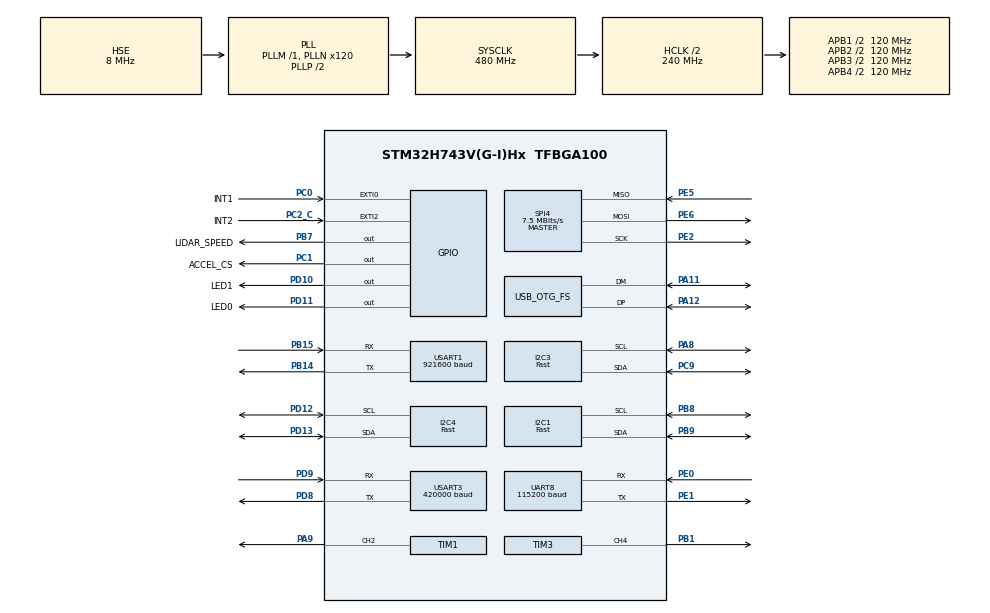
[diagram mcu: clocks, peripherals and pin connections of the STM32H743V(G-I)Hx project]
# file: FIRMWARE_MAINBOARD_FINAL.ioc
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CORTEX_M7.default_mode_Activation=1
Dma.Request0=USART1_RX
Dma.Request1=TIM1_CH2
Dma.Request2=UART8_RX
Dma.Request3=TIM3_CH4
Dma.Request4=USART3_RX
Dma.TIM1_CH2.1.Direction=DMA_MEMORY_TO_PERIPH
Dma.TIM1_CH2.1.EventEnable=DISABLE
Dma.TIM1_CH2.1.FIFOMode=DMA_FIFOMODE_DISABLE
Dma.TIM1_CH2.1.Instance=DMA1_Stream0
Dma.TIM1_CH2.1.MemDataAlignment=DMA_MDATAALIGN_WORD
Dma.TIM1_CH2.1.MemInc=DMA_MINC_ENABLE
Dma.TIM1_CH2.1.Mode=DMA_NORMAL
Dma.TIM1_CH2.1.PeriphDataAlignment=DMA_PDATAALIGN_WORD
Dma.TIM1_CH2.1.PeriphInc=DMA_PINC_DISABLE
Dma.TIM1_CH2.1.Polarity=HAL_DMAMUX_REQ_GEN_RISING
Dma.TIM1_CH2.1.Priority=DMA_PRIORITY_LOW
Dma.TIM1_CH2.1.RequestNumber=1
Dma.TIM1_CH2.1.SignalID=NONE
Dma.TIM1_CH2.1.SyncEnable=DISABLE
Dma.TIM1_CH2.1.SyncPolarity=HAL_DMAMUX_SYNC_NO_EVENT
Dma.TIM1_CH2.1.SyncRequestNumber=1
Dma.TIM1_CH2.1.SyncSignalID=NONE
Dma.TIM3_CH4.3.Direction=DMA_MEMORY_TO_PERIPH
Dma.TIM3_CH4.3.EventEnable=DISABLE
Dma.TIM3_CH4.3.FIFOMode=DMA_FIFOMODE_DISABLE
Dma.TIM3_CH4.3.Instance=DMA1_Stream3
Dma.TIM3_CH4.3.MemDataAlignment=DMA_MDATAALIGN_WORD
Dma.TIM3_CH4.3.MemInc=DMA_MINC_ENABLE
Dma.TIM3_CH4.3.Mode=DMA_NORMAL
Dma.TIM3_CH4.3.PeriphDataAlignment=DMA_PDATAALIGN_WORD
Dma.TIM3_CH4.3.PeriphInc=DMA_PINC_DISABLE
Dma.TIM3_CH4.3.Polarity=HAL_DMAMUX_REQ_GEN_RISING
Dma.TIM3_CH4.3.Priority=DMA_PRIORITY_LOW
Dma.TIM3_CH4.3.RequestNumber=1
Dma.TIM3_CH4.3.SignalID=NONE
Dma.TIM3_CH4.3.SyncEnable=DISABLE
Dma.TIM3_CH4.3.SyncPolarity=HAL_DMAMUX_SYNC_NO_EVENT
Dma.TIM3_CH4.3.SyncRequestNumber=1
Dma.TIM3_CH4.3.SyncSignalID=NONE
Dma.UART8_RX.2.Direction=DMA_PERIPH_TO_MEMORY
Dma.UART8_RX.2.EventEnable=DISABLE
Dma.UART8_RX.2.FIFOMode=DMA_FIFOMODE_DISABLE
Dma.UART8_RX.2.Instance=DMA1_Stream2
Dma.UART8_RX.2.MemDataAlignment=DMA_MDATAALIGN_BYTE
Dma.UART8_RX.2.MemInc=DMA_MINC_ENABLE
Dma.UART8_RX.2.Mode=DMA_CIRCULAR
Dma.UART8_RX.2.PeriphDataAlignment=DMA_PDATAALIGN_BYTE
Dma.UART8_RX.2.PeriphInc=DMA_PINC_DISABLE
Dma.UART8_RX.2.Polarity=HAL_DMAMUX_REQ_GEN_RISING
Dma.UART8_RX.2.Priority=DMA_PRIORITY_LOW
Dma.UART8_RX.2.RequestNumber=1
Dma.UART8_RX.2.SignalID=NONE
Dma.UART8_RX.2.SyncEnable=DISABLE
Dma.UART8_RX.2.SyncPolarity=HAL_DMAMUX_SYNC_NO_EVENT
Dma.UART8_RX.2.SyncRequestNumber=1
Dma.UART8_RX.2.SyncSignalID=NONE
Dma.USART1_RX.0.Direction=DMA_PERIPH_TO_MEMORY
Dma.USART1_RX.0.EventEnable=DISABLE
Dma.USART1_RX.0.FIFOMode=DMA_FIFOMODE_DISABLE
Dma.USART1_RX.0.Instance=DMA1_Stream1
Dma.USART1_RX.0.MemDataAlignment=DMA_MDATAALIGN_BYTE
Dma.USART1_RX.0.MemInc=DMA_MINC_ENABLE
Dma.USART1_RX.0.Mode=DMA_CIRCULAR
Dma.USART1_RX.0.PeriphDataAlignment=DMA_PDATAALIGN_BYTE
Dma.USART1_RX.0.PeriphInc=DMA_PINC_DISABLE
Dma.USART1_RX.0.Polarity=HAL_DMAMUX_REQ_GEN_RISING
Dma.USART1_RX.0.Priority=DMA_PRIORITY_LOW
Dma.USART1_RX.0.RequestNumber=1
Dma.USART1_RX.0.SignalID=NONE
Dma.USART1_RX.0.SyncEnable=DISABLE
Dma.USART1_RX.0.SyncPolarity=HAL_DMAMUX_SYNC_NO_EVENT
Dma.USART1_RX.0.SyncRequestNumber=1
Dma.USART1_RX.0.SyncSignalID=NONE
Dma.USART3_RX.4.Direction=DMA_PERIPH_TO_MEMORY
Dma.USART3_RX.4.EventEnable=DISABLE
Dma.USART3_RX.4.FIFOMode=DMA_FIFOMODE_DISABLE
Dma.USART3_RX.4.Instance=DMA1_Stream4
Dma.USART3_RX.4.MemDataAlignment=DMA_MDATAALIGN_BYTE
Dma.USART3_RX.4.MemInc=DMA_MINC_ENABLE
Dma.USART3_RX.4.Mode=DMA_CIRCULAR
Dma.USART3_RX.4.PeriphDataAlignment=DMA_PDATAALIGN_BYTE
Dma.USART3_RX.4.PeriphInc=DMA_PINC_DISABLE
Dma.USART3_RX.4.Polarity=HAL_DMAMUX_REQ_GEN_RISING
Dma.USART3_RX.4.Priority=DMA_PRIORITY_LOW
Dma.USART3_RX.4.RequestNumber=1
Dma.USART3_RX.4.SignalID=NONE
Dma.USART3_RX.4.SyncEnable=DISABLE
Dma.USART3_RX.4.SyncPolarity=HAL_DMAMUX_SYNC_NO_EVENT
Dma.USART3_RX.4.SyncRequestNumber=1
Dma.USART3_RX.4.SyncSignalID=NONE
FREERTOS.INCLUDE_uxTaskGetStackHighWaterMark2=1
FREERTOS.INCLUDE_vTaskDelayUntil=1
FREERTOS.Tasks01=maintask,0,256,Startmaintask,Default,NULL,Dynamic,NULL,NULL;Sensor_parse,0,512,Startsensorparse,Default,NULL,Dynamic,NULL,NULL;Pimptask,0,512,StartPimptask,Default,NULL,Dynamic,NULL,NULL;Odom_task,0,512,StartOdomtask,Default,NULL,Dynamic,NULL,NULL;Clustertask,0,512,StartClustertask,Default,NULL,Dynamic,NULL,NULL
FREERTOS.configTOTAL_HEAP_SIZE=32768
FREERTOS.configUSE_NEWLIB_REENTRANT=1
I2C1.I2C_Speed_Mode=I2C_Fast
I2C1.Timing=0x00B03FDB
I2C3.I2C_Speed_Mode=I2C_Fast
I2C3.Timing=0x00B03FDB
I2C4.I2C_Speed_Mode=I2C_Fast
I2C4.Timing=0x00B03FDB
Mcu.Family=STM32H7
Mcu.Name=STM32H743V(G-I)Hx
Mcu.Package=TFBGA100
NVIC.DMA1_Stream0_IRQn=true\:5\:0\:false\:false\:true\:true\:false\:true\:true
NVIC.DMA1_Stream1_IRQn=true\:5\:0\:false\:false\:true\:true\:false\:true\:true
NVIC.DMA1_Stream2_IRQn=true\:5\:0\:false\:false\:true\:true\:false\:true\:true
NVIC.DMA1_Stream3_IRQn=true\:5\:0\:false\:false\:true\:true\:false\:true\:true
NVIC.DMA1_Stream4_IRQn=true\:5\:0\:false\:false\:true\:true\:false\:true\:true
NVIC.EXTI0_IRQn=true\:5\:0\:false\:false\:true\:true\:true\:true\:true
NVIC.EXTI2_IRQn=true\:5\:0\:false\:false\:true\:true\:true\:true\:true
NVIC.OTG_FS_IRQn=true\:5\:0\:false\:false\:true\:true\:false\:true\:true
NVIC.PriorityGroup=NVIC_PRIORITYGROUP_4
NVIC.TIM2_IRQn=true\:15\:0\:false\:false\:true\:false\:false\:true\:true
NVIC.TimeBase=TIM2_IRQn
NVIC.TimeBaseIP=TIM2
PA11.Mode=Device_Only
PA11.Signal=USB_OTG_FS_DM
PA12.Mode=Device_Only
PA12.Signal=USB_OTG_FS_DP
PA13\ (JTMS/SWDIO).Mode=Serial_Wire
PA13\ (JTMS/SWDIO).Signal=DEBUG_JTMS-SWDIO
PA14\ (JTCK/SWCLK).Mode=Serial_Wire
PA14\ (JTCK/SWCLK).Signal=DEBUG_JTCK-SWCLK
PA8.Mode=I2C
PA8.Signal=I2C3_SCL
PA9.Signal=S_TIM1_CH2
PB1.Signal=S_TIM3_CH4
PB14.Mode=Asynchronous
PB14.Signal=USART1_TX
PB15.Mode=Asynchronous
PB15.Signal=USART1_RX
PB7.GPIO_Label=LIDAR_SPEED
PB7.Signal=GPIO_Output
PB8.Mode=I2C
PB8.Signal=I2C1_SCL
PB9.Mode=I2C
PB9.Signal=I2C1_SDA
PC0.GPIO_Label=INT1
PC0.GPIO_ModeDefaultEXTI=GPIO_MODE_IT_RISING
PC0.Signal=GPXTI0
PC1.GPIO_Label=ACCEL_CS
PC1.Signal=GPIO_Output
PC2_C.GPIO_Label=INT2
PC2_C.Signal=GPXTI2
PC9.Mode=I2C
PC9.Signal=I2C3_SDA
PD10.GPIO_Label=LED1
PD10.Signal=GPIO_Output
PD11.GPIO_Label=LED0
PD11.Signal=GPIO_Output
PD12.Mode=I2C
PD12.Signal=I2C4_SCL
PD13.Mode=I2C
PD13.Signal=I2C4_SDA
PD8.Mode=Asynchronous
PD8.Signal=USART3_TX
PD9.Mode=Asynchronous
PD9.Signal=USART3_RX
PE0.Mode=Asynchronous
PE0.Signal=UART8_RX
PE1.Mode=Asynchronous
PE1.Signal=UART8_TX
PE2.Mode=Full_Duplex_Master
PE2.Signal=SPI4_SCK
PE5.Mode=Full_Duplex_Master
PE5.Signal=SPI4_MISO
PE6.Mode=Full_Duplex_Master
PE6.Signal=SPI4_MOSI
PE7.Signal=UART7_RX
PE8.Signal=UART7_TX
PH0-OSC_IN\ (PH0).Mode=HSE-External-Oscillator
PH0-OSC_IN\ (PH0).Signal=RCC_OSC_IN
PH1-OSC_OUT\ (PH1).Mode=HSE-External-Oscillator
PH1-OSC_OUT\ (PH1).Signal=RCC_OSC_OUT
ProjectManager.HeapSize=0x200
ProjectManager.StackSize=0x400
ProjectManager.TargetToolchain=STM32CubeIDE
RCC.ADCFreq_Value=75000000
RCC.APB1Freq_Value=120000000
RCC.APB2Freq_Value=120000000
RCC.APB3Freq_Value=120000000
RCC.APB4Freq_Value=120000000
RCC.CortexFreq_Value=480000000
RCC.D1PPRE=RCC_APB3_DIV2
RCC.D2PPRE1=RCC_APB1_DIV2
RCC.D2PPRE2=RCC_APB2_DIV2
RCC.D3PPRE=RCC_APB4_DIV2
RCC.DIVM1=1
RCC.DIVM2=8
RCC.DIVM3=2
RCC.DIVN1=120
RCC.DIVN2=150
RCC.DIVN3=130
RCC.DIVP3=10
RCC.HCLKFreq_Value=240000000
RCC.HPRE=RCC_HCLK_DIV2
RCC.HSE_VALUE=8000000
RCC.PLL2FRACN=0
RCC.PLL3FRACN=0
RCC.PLLFRACN=0
RCC.PLLSourceVirtual=RCC_PLLSOURCE_HSE
RCC.SAI23CLockSelection=RCC_SAI23CLKSOURCE_PLL2
RCC.SPI123CLockSelection=RCC_SPI123CLKSOURCE_PLL3
RCC.SYSCLKFreq_VALUE=480000000
RCC.SYSCLKSource=RCC_SYSCLKSOURCE_PLLCLK
RCC.USBCLockSelection=RCC_USBCLKSOURCE_HSI48
RCC.USBFreq_Value=48000000
SH.S_TIM1_CH2.0=TIM1_CH2,PWM Generation2 CH2
SH.S_TIM3_CH4.0=TIM3_CH4,PWM Generation4 CH4
SPI4.BaudRatePrescaler=SPI_BAUDRATEPRESCALER_16
SPI4.CLKPhase=SPI_PHASE_2EDGE
SPI4.CLKPolarity=SPI_POLARITY_HIGH
SPI4.CalculateBaudRate=7.5 MBits/s
SPI4.DataSize=SPI_DATASIZE_8BIT
SPI4.Direction=SPI_DIRECTION_2LINES
SPI4.Mode=SPI_MODE_MASTER
SPI4.VirtualType=VM_MASTER
TIM1.AutoReloadPreload=TIM_AUTORELOAD_PRELOAD_ENABLE
TIM1.Channel-PWM\ Generation2\ CH2=TIM_CHANNEL_2
TIM1.Period=100-1
TIM1.Prescaler=3-1
TIM3.AutoReloadPreload=TIM_AUTORELOAD_PRELOAD_ENABLE
TIM3.Channel-PWM\ Generation4\ CH4=TIM_CHANNEL_4
TIM3.Period=100-1
TIM3.Prescaler=3-1
UART8.BaudRate=115200
USART1.BaudRate=921600
USART1.VirtualMode-Asynchronous=VM_ASYNC
USART3.BaudRate=420000
USART3.VirtualMode-Asynchronous=VM_ASYNC
USB_DEVICE.CLASS_NAME_FS=CDC
USB_DEVICE.VirtualMode-CDC_FS=Cdc
USB_DEVICE.VirtualModeFS=Cdc_FS
USB_OTG_FS.VirtualMode=Device_Only
VP_FREERTOS_VS_CMSIS_V1.Mode=CMSIS_V1
VP_MEMORYMAP_VS_MEMORYMAP.Mode=CurAppReg
VP_SYS_VS_tim2.Mode=TIM2
VP_TIM1_VS_ClockSourceINT.Mode=Internal
VP_TIM3_VS_ClockSourceINT.Mode=Internal
VP_USB_DEVICE_VS_USB_DEVICE_CDC_FS.Mode=CDC_FS
board=custom

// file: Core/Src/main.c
/* USER CODE BEGIN Header */
/**
  ******************************************************************************
  * @file           : main.c
  * @brief          : Main program body
  ******************************************************************************
  * @attention
  *
  * Copyright (c) 2025 STMicroelectronics.
  * All rights reserved.
  *
  * This software is licensed under terms that can be found in the LICENSE file
  * in the root directory of this software component.
  * If no LICENSE file comes with this software, it is provided AS-IS.
  *
  ******************************************************************************
  */
/* USER CODE END Header */
#include "main.h"
#include "cmsis_os.h"
#include "dma.h"
#include "i2c.h"
#include "spi.h"
#include "tim.h"
#include "usart.h"
#include "usb_device.h"
#include "gpio.h"

/* USER CODE BEGIN Includes */
#include "adxl343.h"
#include "ssd1306.h"
#include "led.h"
#include "mcc_com_master.h"
#include "odometry.h"
#include "vl53l0x.h"
#include "lidar.h"
#include "crsf.h"
/* USER CODE END Includes */

/* USER CODE BEGIN PV */
adxl343_t adxldata;
MOTOR_COM com_struct;
Lidar_t lidar_struct;
ODOM_struct odom_struct;

led_strip_t tomandjerry;
led_strip_t extled;
VL53L0X_t tof_array[3];

CRSF_t crsf_struct;

extern uint8_t  tomjerry_grb[WS2812_GRB_BUF_LEN(TOM_JERRY_LED_COUNT)];
extern uint32_t tomjerry_dma[WS2812_DMA_BUF_LEN(TOM_JERRY_LED_COUNT)];

/* USER CODE END PV */

void SystemClock_Config(void);
static void MPU_Config(void);
void MX_FREERTOS_Init(void);

/* USER CODE BEGIN 0 */
void HAL_GPIO_EXTI_Callback(uint16_t GPIO_Pin){

	if(GPIO_Pin == GPIO_PIN_0){
		ADXL343_INT_HANDLER(&adxldata, 100);
		#define ADXL343_DEBOUNCE_MS  120u
		static uint32_t last_irq_ms = 0;
		uint32_t now = HAL_GetTick();
		if ((uint32_t)(now - last_irq_ms) < ADXL343_DEBOUNCE_MS) {
			return;
		}
		last_irq_ms = now;
		adxldata.filtered_tap_event=1;
 }
}

void HAL_TIM_PWM_PulseFinishedCallback(TIM_HandleTypeDef *htim){
	if(htim->Instance==TIM1){
	LED_Strip_DMA_Callback(&tomandjerry);
	}
	else if(htim->Instance==TIM3){
	LED_Strip_DMA_Callback(&extled);
	}
	else{

	}
}

void HAL_UART_RxHalfCpltCallback(UART_HandleTypeDef *huart)
{
    if (huart->Instance == USART1)
    {
#ifdef NORMAL_MODE
        com_struct.write_index = (uint16_t)(MOTOR_COM_RX_BUF_SIZE / 2u);
#endif
#ifdef DEBUG_MODE
        (void)CDC_Transmit_FS(&com_struct.dbg_rx_buf[0], DEBUG_RX_BUF_SIZE / 2u);
#endif
    }
    if (huart->Instance == UART8)
    {
    	lidar_struct.parse_struct.ylidar_write_index=YLIDAR_CIRC_BUF_SIZE/2u;
    }
    if (huart->Instance == USART3)
    {
    	crsf_struct.crsf_write_index=CRSF_CIRC_BUF_LENGHT/2u;
    }
}

void HAL_UART_RxCpltCallback(UART_HandleTypeDef *huart)
{
    if (huart->Instance == USART1)
    {
#ifdef NORMAL_MODE
        com_struct.write_index = 0;
#endif
#ifdef DEBUG_MODE
        (void)CDC_Transmit_FS(&com_struct.dbg_rx_buf[DEBUG_RX_BUF_SIZE / 2u],
                              DEBUG_RX_BUF_SIZE / 2u);
#endif
    }
    if (huart->Instance == UART8)
    {
    	lidar_struct.parse_struct.ylidar_write_index=0;
    }
    if (huart->Instance == USART3)
    {
    	crsf_struct.crsf_write_index=0u;
    }
}

/* USER CODE END 0 */

int main(void)
{

  /* MPU Configuration--------------------------------------------------------*/
  MPU_Config();

  /* MCU Configuration--------------------------------------------------------*/

  /* Reset of all peripherals, Initializes the Flash interface and the Systick. */
  HAL_Init();

  /* Configure the system clock */
  SystemClock_Config();

  /* Initialize all configured peripherals */
  MX_GPIO_Init();
  MX_DMA_Init();
  MX_SPI4_Init();
  MX_TIM1_Init();
  MX_USART1_UART_Init();
  MX_I2C1_Init();
  MX_I2C3_Init();
  MX_I2C4_Init();
  MX_UART8_Init();
  MX_USART3_UART_Init();
  MX_TIM3_Init();
  /* USER CODE BEGIN 2 */

  CoreDebug->DEMCR |= CoreDebug_DEMCR_TRCENA_Msk;
  DWT->CYCCNT = 0;
  DWT->CTRL |= DWT_CTRL_CYCCNTENA_Msk;

  crsf_Init(&crsf_struct,&huart3);

  MotorCom_Init(&com_struct,&huart1);

  ADXL343_Init(&adxldata, &hspi4, ACCEL_CS_GPIO_Port, ACCEL_CS_Pin,ADXL343_BW_RATE_VALUE, ADXL343_DATA_FMT_RANGE_4G,100);

  Lidar_Init(&lidar_struct,&huart8,LIDAR_SPEED_GPIO_Port, LIDAR_SPEED_Pin);

  /* USER CODE END 2 */

  /* Call init function for freertos objects (in cmsis_os2.c) */
  MX_FREERTOS_Init();

  /* Start scheduler */
  osKernelStart();

  /* We should never get here as control is now taken by the scheduler */

  /* Infinite loop */
  while (1)
  {

  }
}

void SystemClock_Config(void)
{
  RCC_OscInitTypeDef RCC_OscInitStruct = {0};
  RCC_ClkInitTypeDef RCC_ClkInitStruct = {0};

  /** Supply configuration update enable
  */
  HAL_PWREx_ConfigSupply(PWR_LDO_SUPPLY);

  /** Configure the main internal regulator output voltage
  */
  __HAL_PWR_VOLTAGESCALING_CONFIG(PWR_REGULATOR_VOLTAGE_SCALE0);

  while(!__HAL_PWR_GET_FLAG(PWR_FLAG_VOSRDY)) {}

  /** Initializes the RCC Oscillators according to the specified parameters
  * in the RCC_OscInitTypeDef structure.
  */
  RCC_OscInitStruct.OscillatorType = RCC_OSCILLATORTYPE_HSI48|RCC_OSCILLATORTYPE_HSE;
  RCC_OscInitStruct.HSEState = RCC_HSE_ON;
  RCC_OscInitStruct.HSI48State = RCC_HSI48_ON;
  RCC_OscInitStruct.PLL.PLLState = RCC_PLL_ON;
  RCC_OscInitStruct.PLL.PLLSource = RCC_PLLSOURCE_HSE;
  RCC_OscInitStruct.PLL.PLLM = 1;
  RCC_OscInitStruct.PLL.PLLN = 120;
  RCC_OscInitStruct.PLL.PLLP = 2;
  RCC_OscInitStruct.PLL.PLLQ = 2;
  RCC_OscInitStruct.PLL.PLLR = 2;
  RCC_OscInitStruct.PLL.PLLRGE = RCC_PLL1VCIRANGE_3;
  RCC_OscInitStruct.PLL.PLLVCOSEL = RCC_PLL1VCOWIDE;
  RCC_OscInitStruct.PLL.PLLFRACN = 0;
  if (HAL_RCC_OscConfig(&RCC_OscInitStruct) != HAL_OK)
  {
    Error_Handler();
  }

  /** Initializes the CPU, AHB and APB buses clocks
  */
  RCC_ClkInitStruct.ClockType = RCC_CLOCKTYPE_HCLK|RCC_CLOCKTYPE_SYSCLK
                              |RCC_CLOCKTYPE_PCLK1|RCC_CLOCKTYPE_PCLK2
                              |RCC_CLOCKTYPE_D3PCLK1|RCC_CLOCKTYPE_D1PCLK1;
  RCC_ClkInitStruct.SYSCLKSource = RCC_SYSCLKSOURCE_PLLCLK;
  RCC_ClkInitStruct.SYSCLKDivider = RCC_SYSCLK_DIV1;
  RCC_ClkInitStruct.AHBCLKDivider = RCC_HCLK_DIV2;
  RCC_ClkInitStruct.APB3CLKDivider = RCC_APB3_DIV2;
  RCC_ClkInitStruct.APB1CLKDivider = RCC_APB1_DIV2;
  RCC_ClkInitStruct.APB2CLKDivider = RCC_APB2_DIV2;
  RCC_ClkInitStruct.APB4CLKDivider = RCC_APB4_DIV2;

  if (HAL_RCC_ClockConfig(&RCC_ClkInitStruct, FLASH_LATENCY_4) != HAL_OK)
  {
    Error_Handler();
  }
}

 /* MPU Configuration */

void MPU_Config(void)
{
  MPU_Region_InitTypeDef MPU_InitStruct = {0};

  /* Disables the MPU */
  HAL_MPU_Disable();

  /** Initializes and configures the Region and the memory to be protected
  */
  MPU_InitStruct.Enable = MPU_REGION_ENABLE;
  MPU_InitStruct.Number = MPU_REGION_NUMBER0;
  MPU_InitStruct.BaseAddress = 0x0;
  MPU_InitStruct.Size = MPU_REGION_SIZE_4GB;
  MPU_InitStruct.SubRegionDisable = 0x87;
  MPU_InitStruct.TypeExtField = MPU_TEX_LEVEL0;
  MPU_InitStruct.AccessPermission = MPU_REGION_NO_ACCESS;
  MPU_InitStruct.DisableExec = MPU_INSTRUCTION_ACCESS_DISABLE;
  MPU_InitStruct.IsShareable = MPU_ACCESS_SHAREABLE;
  MPU_InitStruct.IsCacheable = MPU_ACCESS_NOT_CACHEABLE;
  MPU_InitStruct.IsBufferable = MPU_ACCESS_NOT_BUFFERABLE;

  HAL_MPU_ConfigRegion(&MPU_InitStruct);
  /* Enables the MPU */
  HAL_MPU_Enable(MPU_PRIVILEGED_DEFAULT);

}

void HAL_TIM_PeriodElapsedCallback(TIM_HandleTypeDef *htim)
{
  if (htim->Instance == TIM2)
  {
    HAL_IncTick();
  }
}

void Error_Handler(void)
{
  __disable_irq();
  while (1)
  {
  }
}

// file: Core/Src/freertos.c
/* USER CODE BEGIN Header */
/**
  ******************************************************************************
  * File Name          : freertos.c
  * Description        : Code for freertos applications
  ******************************************************************************
  * @attention
  *
  * Copyright (c) 2025 STMicroelectronics.
  * All rights reserved.
  *
  * This software is licensed under terms that can be found in the LICENSE file
  * in the root directory of this software component.
  * If no LICENSE file comes with this software, it is provided AS-IS.
  *
  ******************************************************************************
  */
/* USER CODE END Header */

#include "FreeRTOS.h"
#include "task.h"
#include "main.h"
#include "cmsis_os.h"

/* USER CODE BEGIN Includes */
#include "adxl343.h"
#include "mcc_com_master.h"
#include "odometry.h"
#include "vl53l0x.h"
#include "lidar.h"
#include "led.h"
#include "ssd1306.h"
#include "crsf.h"
#include "pimp.h"
#include "usart.h"
/* USER CODE END Includes */

/* USER CODE BEGIN Variables */

extern adxl343_t adxldata;
extern MOTOR_COM com_struct;
extern Lidar_t lidar_struct;
extern ODOM_struct odom_struct;
extern CRSF_t crsf_struct;

extern led_strip_t tomandjerry;
extern led_strip_t extled;

extern uint8_t  tomjerry_grb[WS2812_GRB_BUF_LEN(TOM_JERRY_LED_COUNT)];
extern uint32_t tomjerry_dma[WS2812_DMA_BUF_LEN(TOM_JERRY_LED_COUNT)];

extern uint8_t  ext_grb[WS2812_GRB_BUF_LEN(EXT_LED_COUNT)];
extern uint32_t ext_dma[WS2812_DMA_BUF_LEN(EXT_LED_COUNT)];

extern VL53L0X_t tof_array[3];

uint32_t time_sum=0;
uint32_t t0=0;
float time_avg;
uint32_t max_time;
/* USER CODE END Variables */
osThreadId maintaskHandle;
osThreadId Sensor_parseHandle;
osThreadId PimptaskHandle;
osThreadId Odom_taskHandle;
osThreadId ClustertaskHandle;

void Startmaintask(void const * argument);
void Startsensorparse(void const * argument);
void StartPimptask(void const * argument);
void StartOdomtask(void const * argument);
void StartClustertask(void const * argument);

extern void MX_USB_DEVICE_Init(void);
void MX_FREERTOS_Init(void); /* (MISRA C 2004 rule 8.1) */

/* GetIdleTaskMemory prototype (linked to static allocation support) */
void vApplicationGetIdleTaskMemory( StaticTask_t **ppxIdleTaskTCBBuffer, StackType_t **ppxIdleTaskStackBuffer, uint32_t *pulIdleTaskStackSize );

/* USER CODE BEGIN GET_IDLE_TASK_MEMORY */
static StaticTask_t xIdleTaskTCBBuffer;
static StackType_t xIdleStack[configMINIMAL_STACK_SIZE];

void vApplicationGetIdleTaskMemory( StaticTask_t **ppxIdleTaskTCBBuffer, StackType_t **ppxIdleTaskStackBuffer, uint32_t *pulIdleTaskStackSize )
{
  *ppxIdleTaskTCBBuffer = &xIdleTaskTCBBuffer;
  *ppxIdleTaskStackBuffer = &xIdleStack[0];
  *pulIdleTaskStackSize = configMINIMAL_STACK_SIZE;
  /* place for user code */
}
/* USER CODE END GET_IDLE_TASK_MEMORY */

void MX_FREERTOS_Init(void) {

  /* Create the thread(s) */
  /* definition and creation of maintask */
  osThreadDef(maintask, Startmaintask, osPriorityNormal, 0, 256);
  maintaskHandle = osThreadCreate(osThread(maintask), NULL);

  /* definition and creation of Sensor_parse */
  osThreadDef(Sensor_parse, Startsensorparse, osPriorityNormal, 0, 512);
  Sensor_parseHandle = osThreadCreate(osThread(Sensor_parse), NULL);

  /* definition and creation of Pimptask */
  osThreadDef(Pimptask, StartPimptask, osPriorityNormal, 0, 512);
  PimptaskHandle = osThreadCreate(osThread(Pimptask), NULL);

  /* definition and creation of Odom_task */
  osThreadDef(Odom_task, StartOdomtask, osPriorityNormal, 0, 512);
  Odom_taskHandle = osThreadCreate(osThread(Odom_task), NULL);

  /* definition and creation of Clustertask */
  osThreadDef(Clustertask, StartClustertask, osPriorityNormal, 0, 512);
  ClustertaskHandle = osThreadCreate(osThread(Clustertask), NULL);

}

void Startmaintask(void const * argument)
{
  /* init code for USB_DEVICE */
  MX_USB_DEVICE_Init();
  /* USER CODE BEGIN Startmaintask */
  TickType_t xLastWakeTime;
  const TickType_t period = pdMS_TO_TICKS(3000);
  xLastWakeTime = xTaskGetTickCount();
  int i=0;
  /* Infinite loop */
  for(;;)
  {

	   HAL_GPIO_TogglePin(GPIOD,GPIO_PIN_11);
	  vTaskDelayUntil(&xLastWakeTime, period);
  }
  /* USER CODE END Startmaintask */
}

void Startsensorparse(void const * argument)
{
  /* USER CODE BEGIN Startsensorparse */
	VL53L0X_Init(&tof_array[0],TOF1_I2C,1,0.3);
	VL53L0X_Init(&tof_array[1],TOF2_I2C,2,0.3);
	VL53L0X_Init(&tof_array[2],TOF3_I2C,3,0.3);

	int i=0;
	uint32_t mid_time=0;

	  TickType_t xLastWakeTime;
	  const TickType_t period = pdMS_TO_TICKS(10);
	  xLastWakeTime = xTaskGetTickCount();
  /* Infinite loop */
  for(;;)
  {
	  t0=DWT->CYCCNT;
	  ylidar_fsm(&lidar_struct);
	  VL53L0X_Update(&tof_array[0]);
	  VL53L0X_Update(&tof_array[1]);
	  VL53L0X_Update(&tof_array[2]);
	  mid_time=(DWT->CYCCNT-t0);
	  time_sum+=mid_time;
	  i+=1;
	  if(i>=100){
		  time_avg=(float)time_sum/100.0f;
		  time_sum=0;
		  i=0;
	  }
	  if(mid_time>max_time){
		  max_time=mid_time;
	  }

	  vTaskDelayUntil(&xLastWakeTime, period);
  }
  /* USER CODE END Startsensorparse */
}

void StartPimptask(void const * argument)
{
  /* USER CODE BEGIN StartPimptask */
	LED_Strip_Init(&tomandjerry,&htim1,TIM_CHANNEL_2,tomjerry_grb,TOM_JERRY_LED_COUNT,tomjerry_dma,(uint16_t)(sizeof(tomjerry_dma) / sizeof(tomjerry_dma[0])));
    LED_Strip_Init(&extled,&htim3,TIM_CHANNEL_4,ext_grb,EXT_LED_COUNT,ext_dma,(uint16_t)(sizeof(ext_dma) / sizeof(ext_dma[0])));

    uint16_t offset=0;
	uint8_t flag1=0;

	  TickType_t xLastWakeTime;
	  const TickType_t period = pdMS_TO_TICKS(10);
	  xLastWakeTime = xTaskGetTickCount();
  /* Infinite loop */
  for(;;)
  {

	  LED_Strip_Refresh(&extled);
	  LED_Strip_FillRainbow(&extled,offset,255);
	  offset+=2;

	  if(adxldata.filtered_tap_event==1){
		  adxldata.filtered_tap_event=0;
		  flag1=1-flag1;
		  if(flag1){
					if(!tomandjerry.dma_busy){
					LED_Strip_SetPixelRGB(&tomandjerry,0,255, 0, 0);
					LED_Strip_SetPixelRGB(&tomandjerry,1,0, 255, 0);
					LED_Strip_Refresh(&tomandjerry);
					}

				}
		  else{
					if(!tomandjerry.dma_busy){
					LED_Strip_SetPixelRGB(&tomandjerry,0,0, 255, 0);
					LED_Strip_SetPixelRGB(&tomandjerry,1,255,0, 0);
					LED_Strip_Refresh(&tomandjerry);
					}

		  }
	  }

	  //crsf_proccess_switch(&crsf_struct,&huart3,1000);

	  vTaskDelayUntil(&xLastWakeTime, period);
  }
  /* USER CODE END StartPimptask */
}

void StartOdomtask(void const * argument)
{
  /* USER CODE BEGIN StartOdomtask */

	//odometry_Init();
	  TickType_t xLastWakeTime;
	  const TickType_t period = pdMS_TO_TICKS(5);
	  xLastWakeTime = xTaskGetTickCount();
  /* Infinite loop */
  for(;;)
  {
	  crsf_fsm(&crsf_struct);
	  crsf_command(&crsf_struct,&com_struct);
	  MotorCom_Process(&com_struct);
	  vTaskDelayUntil(&xLastWakeTime, period);
  }
  /* USER CODE END StartOdomtask */
}

void StartClustertask(void const * argument)
{
  /* USER CODE BEGIN StartClustertask */

	  TickType_t xLastWakeTime;
	  const TickType_t period = pdMS_TO_TICKS(100);
	  xLastWakeTime = xTaskGetTickCount();
  /* Infinite loop */
  for(;;)
  {

	  HAL_GPIO_TogglePin(GPIOD,GPIO_PIN_10);
	  vTaskDelayUntil(&xLastWakeTime, period);
  }
  /* USER CODE END StartClustertask */
}
